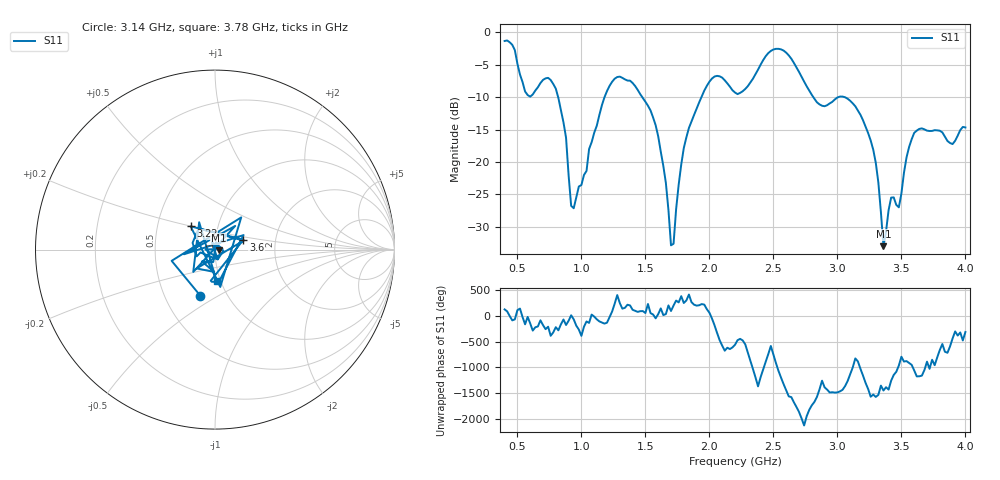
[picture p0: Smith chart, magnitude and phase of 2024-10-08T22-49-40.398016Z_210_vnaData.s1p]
! Created with skrf (http://scikit-rf.org).
# Hz S RI R 50.0
!freq ReS11 ImS11
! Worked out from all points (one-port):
!   181 points, 400 MHz to 4 GHz, reference 50 ohm
!   lowest |S11| = -33.0 dB at 3.36 GHz (marker M1), VSWR 1.05, Z = 52.2 - j0.52 ohm
!   |S11| at or under -10 dB: 818.4 MHz to 1.18 GHz (361.9 MHz wide, 36.2 % of centre); 1.476 GHz to 1.938 GHz (461.9 MHz wide, 27.1 % of centre); 3.059 GHz to end of sweep (the widest 3 of 4)
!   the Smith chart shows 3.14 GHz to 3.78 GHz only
!   S11 on the Smith chart (normalised r, x): 3.14 GHz: 0.75, -0.41; 3.22 GHz: 0.74, +0.20; 3.6 GHz: 1.37, +0.15; 3.78 GHz: 0.96, -0.35
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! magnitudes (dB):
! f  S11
! 400 MHz  -1.3
! 580 MHz  -9.7
! 760 MHz  -7.3
! 860 MHz  -13.9
! 940 MHz  -27.1
! 1.18 GHz  -10.0
! 1.3 GHz  -6.8
! 1.58 GHz  -14.3
! 1.66 GHz  -23.2
! 1.7 GHz  -32.8
! 1.76 GHz  -23.5
! 1.84 GHz  -14.7
! 1.98 GHz  -8.2
! 2.2 GHz  -9.3
! 2.5 GHz  -2.6
! 2.66 GHz  -4.7
! 2.86 GHz  -11.1
! 3.1 GHz  -10.6
! 3.14 GHz  -11.4
! 3.22 GHz  -14.5
! 3.3 GHz  -20.1
! 3.36 GHz  -33.0
! 3.42 GHz  -25.5
! 3.48 GHz  -27.0
! 3.56 GHz  -17.7
! 3.6 GHz  -15.5
! 3.78 GHz  -15.1
! 4 GHz  -14.7
